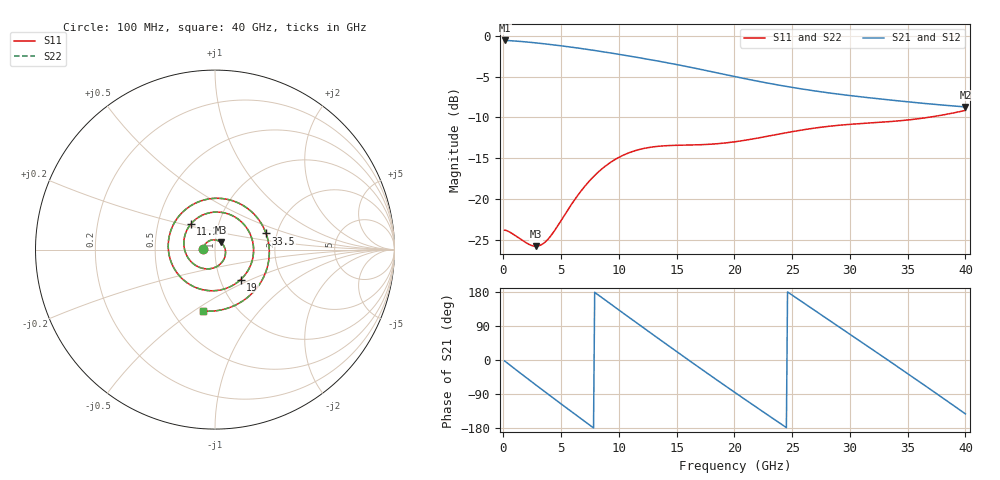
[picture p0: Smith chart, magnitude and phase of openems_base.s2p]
! D_s8_stitch_2p0: L1 (ref L2) → L8 (ref L7), one GND via at 2 mm
! stackup: 8-layer 1.6 mm FR-4 (generic)
! ports: 1, 2
! openEMS 0.37.0, staircase, base mesh (dfine 0.035 mm), 897390 cells
# Hz S RI R 50
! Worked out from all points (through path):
!   400 points, 100 MHz to 40 GHz, reference 50 ohm
!   highest |S21| = -0.59 dB at 100 MHz (marker M1); lowest = -8.7 dB at 40 GHz (marker M2)
!   group delay of S21, straight-line fit = 59.3 ps
!   lowest |S11| = -25.7 dB at 2.8 GHz (marker M3), VSWR 1.11, Z = 53 + j4.38 ohm
!   |S11| at or under -10 dB: start of sweep to 36.76 GHz
!   |S22| runs from -25.7 to -9.1 dB; largest |S21 - S12| = 4.6e-06
!   S11 on the Smith chart (normalised r, x): 100 MHz: 0.88, +0.01; 11.2 GHz: 0.73, +0.22; 19 GHz: 1.25, -0.44; 33.5 GHz: 1.75, +0.35; 40 GHz: 0.70, -0.54
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1e8  -0.0645 0.00511  0.9331 -0.0393  0.9331 -0.0393  -0.0645 0.00511
1.3e9  -0.032 0.0486  0.7925 -0.4737  0.7925 -0.4737  -0.032 0.0486
2.8e9  0.0313 0.0411  0.3708 -0.8231  0.3708 -0.8231  0.0313 0.0411
4.6e9  0.0561 -0.0369  -0.2551 -0.835  -0.2551 -0.835  0.0561 -0.0369
6.8e9  -0.0389 -0.1074  -0.7651 -0.3284  -0.7651 -0.3284  -0.0389 -0.1074
8.8e9  -0.1538 -0.0398  -0.7376 0.2911  -0.7376 0.2911  -0.1538 -0.0398
1.12e10  -0.135 0.1421  -0.1965 0.7173  -0.1965 0.7173  -0.135 0.1421
1.34e10  0.0362 0.2075  0.38 0.5862  0.38 0.5862  0.0362 0.2075
1.47e10  0.1393 0.1616  0.5892 0.3224  0.5892 0.3224  0.1393 0.1616
1.6e10  0.2029 0.0693  0.6444 0.00544  0.6444 0.00544  0.2029 0.0693
1.9e10  0.1428 -0.1673  0.2573 -0.522  0.2573 -0.522  0.1428 -0.1673
2.01e10  0.0624 -0.2159  0.0296 -0.5597  0.0296 -0.5597  0.0624 -0.2159
2.16e10  -0.0658 -0.2241  -0.2534 -0.4694  -0.2534 -0.4694  -0.0658 -0.2241
2.35e10  -0.206 -0.137  -0.4659 -0.1902  -0.4659 -0.1902  -0.206 -0.137
2.5e10  -0.2585 -0.0128  -0.4768 0.0735  -0.4768 0.0735  -0.2585 -0.0128
2.67e10  -0.231 0.141  -0.3335 0.3197  -0.3335 0.3197  -0.231 0.141
2.97e10  0.00202 0.2858  0.1164 0.4167  0.1164 0.4167  0.00202 0.2858
3.17e10  0.1829 0.2282  0.3497 0.2267  0.3497 0.2267  0.1829 0.2282
3.34e10  0.2811 0.099  0.4042 -0.0175  0.4042 -0.0175  0.2811 0.099
3.35e10  0.2845 0.0899  0.4026 -0.0322  0.4026 -0.0322  0.2845 0.0899
3.69e10  0.2252 -0.2235  0.0925 -0.371  0.0925 -0.371  0.2252 -0.2235
4e10  -0.0682 -0.3422  -0.2895 -0.2248  -0.2895 -0.2248  -0.0682 -0.3422
